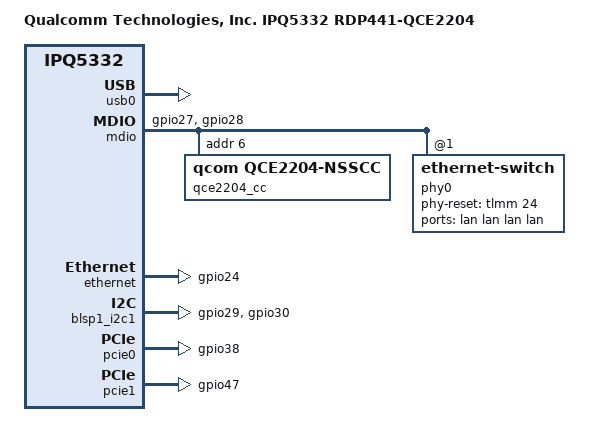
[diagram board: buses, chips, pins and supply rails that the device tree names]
// SPDX-License-Identifier: GPL-2.0-only
/*
 * Copyright (c) Qualcomm Technologies, Inc. and/or its subsidiaries.
 */

/dts-v1/;

#include "ipq5332-rdp441.dts"
#include "ipq5332-rdp-common-ub.dtsi"
#include <asm/arch/dt-bindings/clock/qcom,qce2204-nsscc.h>
#include <asm/arch/dt-bindings/reset/qcom,qce2204-nsscc.h>

/ {
	model = "Qualcomm Technologies, Inc. IPQ5332 RDP441-QCE2204";
	compatible = "qcom,ipq5332-rdp441-qce2204", "qcom,ipq5332";

	soc@0 {
		hs_m31phy_0: hs_m31phy@7b000 {
			status = "okay";
		};

		usb0: usb@8af8800 {
			qcom,select-utmi-as-pipe-clk;
			status = "okay";

			dwc3@8a00000 {
				phys = <&hs_m31phy_0>;
				phy-names = "usb2-phy";
				maximum-speed = "high-speed";
			};
		};

		mdio: mdio@90000 {
			pinctrl-names = "default";
			pinctrl-0 = <&mdio_pinmux>;
			status = "okay";

			qce2204_cc: clock-controller@6 {
				compatible = "qcom,qce2204-nsscc";
				reg = <6 0>;
				#clock-cells = <1>;
				#reset-cells = <1>;
			};

			phy0: ethernet-switch@1 {
				phy-reset-gpio = <&tlmm 24 0>;
				dev-mode = <0x1>;
				phy_addr = <0>;
				phy_type = <QCE2204_SWITCH_TYPE>;
				id = <2>;
				uniphy_id = <1>;
				uniphy_type = <0>;
				max_speed = <2500>;
				force-speed;
				xgmac;
				qcom,package-mode = "internal";
				base_addr = <0>;

				/* Per-PHY clocks */
				clocks = <&qce2204_cc QCE2204_NSSCC_SRDS1_SYS_CLK>, 
					<&qce2204_cc QCE2204_NSSCC_MAC1_GEPHY0_TX_CLK>,
					<&qce2204_cc QCE2204_NSSCC_MAC1_GEPHY0_RX_CLK>,
					<&qce2204_cc QCE2204_NSSCC_GEPHY0_SYS_CLK>,
					/* Shared clocks for package */
					<&qce2204_cc QCE2204_NSSCC_MAC1_SRDS1_CH0_TX_CLK>,
					<&qce2204_cc QCE2204_NSSCC_MAC1_SRDS1_CH0_RX_CLK>,
					<&qce2204_cc QCE2204_NSSCC_MAC0_1_SRDS1_CH0_XGMII_TX_CLK>,
					<&qce2204_cc QCE2204_NSSCC_MAC0_1_SRDS1_CH0_XGMII_RX_CLK>,
					<&qce2204_cc QCE2204_NSSCC_MAC2_SRDS1_CH1_TX_CLK>,
					<&qce2204_cc QCE2204_NSSCC_MAC2_SRDS1_CH1_RX_CLK>,
					<&qce2204_cc QCE2204_NSSCC_MAC2_SRDS1_CH1_XGMII_TX_CLK>,
					<&qce2204_cc QCE2204_NSSCC_MAC2_SRDS1_CH1_XGMII_RX_CLK>,
					<&qce2204_cc QCE2204_NSSCC_MAC3_SRDS1_CH2_TX_CLK>,
					<&qce2204_cc QCE2204_NSSCC_MAC3_SRDS1_CH2_RX_CLK>,
					<&qce2204_cc QCE2204_NSSCC_MAC3_SRDS1_CH2_XGMII_TX_CLK>,
					<&qce2204_cc QCE2204_NSSCC_MAC3_SRDS1_CH2_XGMII_RX_CLK>,
					<&qce2204_cc QCE2204_NSSCC_MAC4_SRDS1_CH3_TX_CLK>,
					<&qce2204_cc QCE2204_NSSCC_MAC4_SRDS1_CH3_RX_CLK>,
					<&qce2204_cc QCE2204_NSSCC_MAC4_SRDS1_CH3_XGMII_TX_CLK>,
					<&qce2204_cc QCE2204_NSSCC_MAC4_SRDS1_CH3_XGMII_RX_CLK>,
					<&qce2204_cc QCE2204_NSSCC_AHB_CLK>,
					<&qce2204_cc QCE2204_NSSCC_SWITCH_CORE_CLK>,
					<&qce2204_cc QCE2204_NSSCC_SWITCH_IPE_CLK>,
					<&qce2204_cc QCE2204_NSSCC_SWITCH_BTQ_CLK>,
					<&qce2204_cc QCE2204_NSSCC_SWITCH_CFG_CLK>,
					<&qce2204_cc QCE2204_NSSCC_APB_BRIDGE_CLK>,
					<&qce2204_cc QCE2204_NSSCC_MAC0_TX_CLK>,
					<&qce2204_cc QCE2204_NSSCC_MAC0_RX_CLK>,
					<&qce2204_cc QCE2204_NSSCC_MAC1_TX_CLK>,
					<&qce2204_cc QCE2204_NSSCC_MAC1_RX_CLK>,
					<&qce2204_cc QCE2204_NSSCC_MAC2_TX_CLK>,
					<&qce2204_cc QCE2204_NSSCC_MAC2_RX_CLK>,
					<&qce2204_cc QCE2204_NSSCC_MAC3_TX_CLK>,
					<&qce2204_cc QCE2204_NSSCC_MAC3_RX_CLK>,
					<&qce2204_cc QCE2204_NSSCC_MAC4_TX_CLK>,
					<&qce2204_cc QCE2204_NSSCC_MAC4_RX_CLK>,
					<&qce2204_cc QCE2204_NSSCC_MAC5_TX_CLK>,
					<&qce2204_cc QCE2204_NSSCC_MAC5_RX_CLK>;
				clock-names = "pcs_sys_clk", "tx_clk", "rx_clk", "sys_clk",
					"ch0_gmii_tx_clk",
					"ch0_gmii_rx_clk",
					"ch0_xgmii_tx_clk",
					"ch0_xgmii_rx_clk",
					"ch1_gmii_tx_clk",
					"ch1_gmii_rx_clk",
					"ch1_xgmii_tx_clk",
					"ch1_xgmii_rx_clk",
					"ch2_gmii_tx_clk",
					"ch2_gmii_rx_clk",
					"ch2_xgmii_tx_clk",
					"ch2_xgmii_rx_clk",
					"ch3_gmii_tx_clk",
					"ch3_gmii_rx_clk",
					"ch3_xgmii_tx_clk",
					"ch3_xgmii_rx_clk",
					"ahb_clk",
					"switch_core_clk",
					"switch_ipe_clk",
					"switch_btq_clk",
					"switch_cfg_clk",
					"switch_apb_clk",
					"mac0_tx_clk",
					"mac0_rx_clk",
					"mac1_tx_clk",
					"mac1_rx_clk",
					"mac2_tx_clk",
					"mac2_rx_clk",
					"mac3_tx_clk",
					"mac3_rx_clk",
					"mac4_tx_clk",
					"mac4_rx_clk",
					"mac5_tx_clk",
					"mac5_rx_clk";

				/* Per-PHY resets */
				resets = <&qce2204_cc QCE2204_NSSCC_SRDS1_SYS_ARES>, 
					<&qce2204_cc QCE2204_NSSCC_MAC1_GEPHY0_TX_ARES>,
					<&qce2204_cc QCE2204_NSSCC_MAC1_GEPHY0_RX_ARES>,
					<&qce2204_cc QCE2204_NSSCC_GEPHY0_SYS_ARES>,
					/* Shared resets for package */
					<&qce2204_cc QCE2204_NSSCC_MAC1_SRDS1_CH0_TX_ARES>,
					<&qce2204_cc QCE2204_NSSCC_MAC1_SRDS1_CH0_RX_ARES>,
					<&qce2204_cc QCE2204_NSSCC_MAC0_1_SRDS1_CH0_XGMII_TX_ARES>,
					<&qce2204_cc QCE2204_NSSCC_MAC0_1_SRDS1_CH0_XGMII_RX_ARES>,
					<&qce2204_cc QCE2204_NSSCC_MAC2_SRDS1_CH1_TX_ARES>,
					<&qce2204_cc QCE2204_NSSCC_MAC2_SRDS1_CH1_RX_ARES>,
					<&qce2204_cc QCE2204_NSSCC_MAC2_SRDS1_CH1_XGMII_TX_ARES>,
					<&qce2204_cc QCE2204_NSSCC_MAC2_SRDS1_CH1_XGMII_RX_ARES>,
					<&qce2204_cc QCE2204_NSSCC_MAC3_SRDS1_CH2_TX_ARES>,
					<&qce2204_cc QCE2204_NSSCC_MAC3_SRDS1_CH2_RX_ARES>,
					<&qce2204_cc QCE2204_NSSCC_MAC3_SRDS1_CH2_XGMII_TX_ARES>,
					<&qce2204_cc QCE2204_NSSCC_MAC3_SRDS1_CH2_XGMII_RX_ARES>,
					<&qce2204_cc QCE2204_NSSCC_MAC4_SRDS1_CH3_TX_ARES>,
					<&qce2204_cc QCE2204_NSSCC_MAC4_SRDS1_CH3_RX_ARES>,
					<&qce2204_cc QCE2204_NSSCC_MAC4_SRDS1_CH3_XGMII_TX_ARES>,
					<&qce2204_cc QCE2204_NSSCC_MAC4_SRDS1_CH3_XGMII_RX_ARES>,
					<&qce2204_cc QCE2204_NSSCC_SRDS1_XPCS_ARES>,
					<&qce2204_cc QCE2204_NSSCC_SWITCH_BTQ_ARES>,
					<&qce2204_cc QCE2204_NSSCC_SWITCH_CFG_ARES>,
					<&qce2204_cc QCE2204_NSSCC_SWITCH_CORE_ARES>,
					<&qce2204_cc QCE2204_NSSCC_SWITCH_IPE_ARES>,
					<&qce2204_cc QCE2204_NSSCC_SWITCH_MAC0_ARES>,
					<&qce2204_cc QCE2204_NSSCC_SWITCH_MAC1_ARES>,
					<&qce2204_cc QCE2204_NSSCC_SWITCH_MAC2_ARES>,
					<&qce2204_cc QCE2204_NSSCC_SWITCH_MAC3_ARES>,
					<&qce2204_cc QCE2204_NSSCC_SWITCH_MAC4_ARES>,
					<&qce2204_cc QCE2204_NSSCC_SWITCH_MAC5_ARES>,
					<&qce2204_cc QCE2204_NSSCC_XGMAC0_PTP_REF_ARES>,
					<&qce2204_cc QCE2204_NSSCC_XGMAC1_PTP_REF_ARES>,
					<&qce2204_cc QCE2204_NSSCC_MAC0_TX_ARES>,
					<&qce2204_cc QCE2204_NSSCC_MAC0_RX_ARES>,
					<&qce2204_cc QCE2204_NSSCC_MAC1_TX_ARES>,
					<&qce2204_cc QCE2204_NSSCC_MAC1_RX_ARES>,
					<&qce2204_cc QCE2204_NSSCC_MAC2_TX_ARES>,
					<&qce2204_cc QCE2204_NSSCC_MAC2_RX_ARES>,
					<&qce2204_cc QCE2204_NSSCC_MAC3_TX_ARES>,
					<&qce2204_cc QCE2204_NSSCC_MAC3_RX_ARES>,
					<&qce2204_cc QCE2204_NSSCC_MAC4_TX_ARES>,
					<&qce2204_cc QCE2204_NSSCC_MAC4_RX_ARES>,
					<&qce2204_cc QCE2204_NSSCC_MAC5_TX_ARES>,
					<&qce2204_cc QCE2204_NSSCC_MAC5_RX_ARES>;
				reset-names = "pcs_sys_reset", "tx_reset", "rx_reset", "sys_reset",
					"ch0_gmii_tx_reset",
					"ch0_gmii_rx_reset",
					"ch0_xgmii_tx_reset",
					"ch0_xgmii_rx_reset",
					"ch1_gmii_tx_reset",
					"ch1_gmii_rx_reset",
					"ch1_xgmii_tx_reset",
					"ch1_xgmii_rx_reset",
					"ch2_gmii_tx_reset",
					"ch2_gmii_rx_reset",
					"ch2_xgmii_tx_reset",
					"ch2_xgmii_rx_reset",
					"ch3_gmii_tx_reset",
					"ch3_gmii_rx_reset",
					"ch3_xgmii_tx_reset",
					"ch3_xgmii_rx_reset",
					"xpcs",
					"switch_btq_reset",
					"switch_cfg_reset",
					"switch_core_reset",
					"switch_ipe_reset",
					"switch_mac0_reset",
					"switch_mac1_reset",
					"switch_mac2_reset",
					"switch_mac3_reset",
					"switch_mac4_reset",
					"switch_mac5_reset",
					"xgmac0_ptp_ref_reset",
					"xgmac1_ptp_ref_reset",
					"mac0_tx_reset",
					"mac0_rx_reset",
					"mac1_tx_reset",
					"mac1_rx_reset",
					"mac2_tx_reset",
					"mac2_rx_reset",
					"mac3_tx_reset",
					"mac3_rx_reset",
					"mac4_tx_reset",
					"mac4_rx_reset",
					"mac5_tx_reset",
					"mac5_rx_reset";
				ports {
					#address-cells = <1>;
					#size-cells = <0>;

					port1: port@1 {
						port-id = <1>;
						phy_addr = <0>;
						label = "lan";
						clocks = <&qce2204_cc QCE2204_NSSCC_MAC1_GEPHY0_TX_CLK>,
							<&qce2204_cc QCE2204_NSSCC_MAC1_GEPHY0_RX_CLK>,
							<&qce2204_cc QCE2204_NSSCC_GEPHY1_SYS_CLK>;
						clock-names = "tx_clk", "rx_clk", "sys_clk";


						resets = <&qce2204_cc QCE2204_NSSCC_MAC1_GEPHY0_TX_ARES>,
							<&qce2204_cc QCE2204_NSSCC_MAC1_GEPHY0_RX_ARES>,
							<&qce2204_cc QCE2204_NSSCC_GEPHY1_SYS_ARES>;
						reset-names = "tx_reset", "rx_reset", "sys_reset";
					};

					port2: port@2 {
						port-id = <2>;
						phy_addr = <1>;
						label = "lan";
						clocks = <&qce2204_cc QCE2204_NSSCC_MAC2_GEPHY1_TX_CLK>,
							<&qce2204_cc QCE2204_NSSCC_MAC2_GEPHY1_RX_CLK>,
							<&qce2204_cc QCE2204_NSSCC_GEPHY1_SYS_CLK>;
						clock-names = "tx_clk", "rx_clk", "sys_clk";


						resets = <&qce2204_cc QCE2204_NSSCC_MAC2_GEPHY1_TX_ARES>,
							<&qce2204_cc QCE2204_NSSCC_MAC2_GEPHY1_RX_ARES>,
							<&qce2204_cc QCE2204_NSSCC_GEPHY1_SYS_ARES>;
						reset-names = "tx_reset", "rx_reset", "sys_reset";
					};

					port3: port@3 {
						port-id = <3>;
						phy_addr = <2>;
						label = "lan";
						clocks = <&qce2204_cc QCE2204_NSSCC_MAC3_GEPHY2_TX_CLK>,
							<&qce2204_cc QCE2204_NSSCC_MAC3_GEPHY2_RX_CLK>,
							<&qce2204_cc QCE2204_NSSCC_GEPHY2_SYS_CLK>;
						clock-names = "tx_clk", "rx_clk", "sys_clk";

						resets = <&qce2204_cc QCE2204_NSSCC_MAC3_GEPHY2_TX_ARES>,
							<&qce2204_cc QCE2204_NSSCC_MAC3_GEPHY2_RX_ARES>,
							<&qce2204_cc QCE2204_NSSCC_GEPHY2_SYS_ARES>;
						reset-names = "tx_reset", "rx_reset", "sys_reset";
					};

					port4: port@4 {
						port-id = <4>;
						phy_addr = <3>;
						label = "lan";
						clocks = <&qce2204_cc QCE2204_NSSCC_MAC4_GEPHY3_TX_CLK>,
							<&qce2204_cc QCE2204_NSSCC_MAC4_GEPHY3_RX_CLK>,
							<&qce2204_cc QCE2204_NSSCC_GEPHY3_SYS_CLK>;
						clock-names = "tx_clk", "rx_clk", "sys_clk";

						resets = <&qce2204_cc QCE2204_NSSCC_MAC4_GEPHY3_TX_ARES>,
							<&qce2204_cc QCE2204_NSSCC_MAC4_GEPHY3_RX_ARES>,
							<&qce2204_cc QCE2204_NSSCC_GEPHY3_SYS_ARES>;
						reset-names = "tx_reset", "rx_reset", "sys_reset";
					};
				};
			};
		};

		ethernet: nss-switch {
			pinctrl-names = "default";
			pinctrl-0 = <&phy_rst_pinmux>;
			phy-handle0 = <&phy0>;
			status = "okay";
		};

	};
};

&tlmm {
	mdio_pinmux: mdio {
		mdc {
			pins = "gpio27";
			function = "mdc1";
			drive-strength = <8>;
			bias-disable;
		};

		mdio {
			pins = "gpio28";
			function = "mdio1";
			drive-strength = <8>;
			bias-pull-up;
		};
	};

	phy_rst_pinmux: phy_rst {
		qti_8x8x_rst {
			pins = "gpio24";
			drive-strength = <8>;
			bias-pull-up;
		};

		qti_sfp_tx_los {
			pins = "gpio24";
			drive-strength = <8>;
			bias-pull-up;
			output-low;
		};
	};

	blsp1_i2c1_pinmux: blsp1_i2c1_pins {
		blsp1_scl {
			pins = "gpio29";
			function = "blsp1_i2c0";
			drive-strength = <8>;
			bias-pull-up;
		};

		blsp1_sda {
			pins = "gpio30";
			function = "blsp1_i2c0";
			drive-strength = <8>;
			bias-pull-up;
		};
	};

	pcie0_default_state: pcie0-default-state {
		pins = "gpio38";
		function = "gpio";
		drive-strength = <8>;
		bias-pull-up;
		output-low;
	};

	pcie1_default_state: pcie1-default-state {
		pins = "gpio47";
		function = "gpio";
		drive-strength = <8>;
		bias-pull-up;
		output-low;
	};
};

&blsp1_i2c1 {
	pinctrl-names = "default";
	pinctrl-0 = <&blsp1_i2c1_pinmux>;
	status = "okay";
};

&pcie0 {
	pinctrl-0 = <&pcie0_default_state>;
	pinctrl-names = "default";
	perst-gpios = <&tlmm 38 GPIO_ACTIVE_LOW>;
	status = "okay";
};

&pcie1 {
	pinctrl-0 = <&pcie1_default_state>;
	pinctrl-names = "default";
	perst-gpios = <&tlmm 47 GPIO_ACTIVE_LOW>;
	status = "okay";
};
